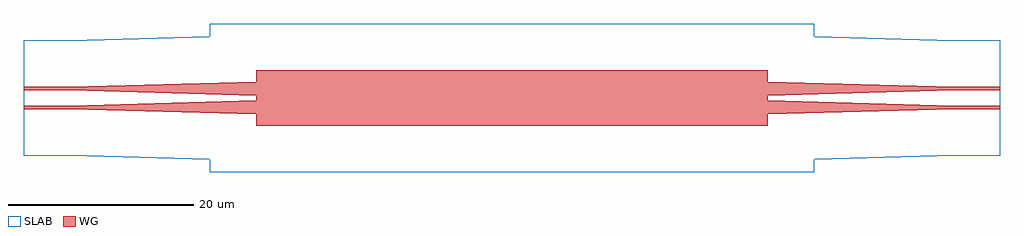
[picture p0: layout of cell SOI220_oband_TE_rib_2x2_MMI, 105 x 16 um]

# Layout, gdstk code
import gdstk
lib = gdstk.Library(unit=1e-6, precision=1e-09)
def R(c, l, rs):  # rectangles x0, y0, x1, y1
    for r in rs: c.add(gdstk.rectangle(r[:2], r[2:], *l))
def P(c, l, *ps):  # polygons
    for p in ps: c.add(gdstk.Polygon(p, *l))
WG = (3, 0)
SLAB = (5, 0)

soi220_oband_te_rib_2x2_ = lib.new_cell('SOI220_oband_TE_rib_2x2_MMI')
R(soi220_oband_te_rib_2x2_, WG, [(0,-3,55,3), (-25,-1.215,-20,-0.815), (75,-1.215,80,-0.815), (-25,0.815,-20,1.215), (75,0.815,80,1.215)])
P(soi220_oband_te_rib_2x2_, WG, [(0,-1.765),(-20,-1.215),(-20,-0.815),(0,-0.265)],
  [(0,0.265),(-20,0.815),(-20,1.215),(0,1.765)],
  [(55,0.265),(55,1.765),(75,1.215),(75,0.815)],
  [(55,-1.765),(55,-0.265),(75,-0.815),(75,-1.215)])
P(soi220_oband_te_rib_2x2_, SLAB, [(-5,-8),(-5,-6.629),(-20.055,-6.215),(-25,-6.215),(-25,6.215),(-20.055,6.215),(-5,6.629),(-5,8),(60,8),(60,6.629),(75.055,6.215),(80,6.215),(80,-6.215),(75.055,-6.215),(60,-6.629),(60,-8)])

lib.write_gds('SOI220_oband_TE_rib_2x2_MMI.gds')
